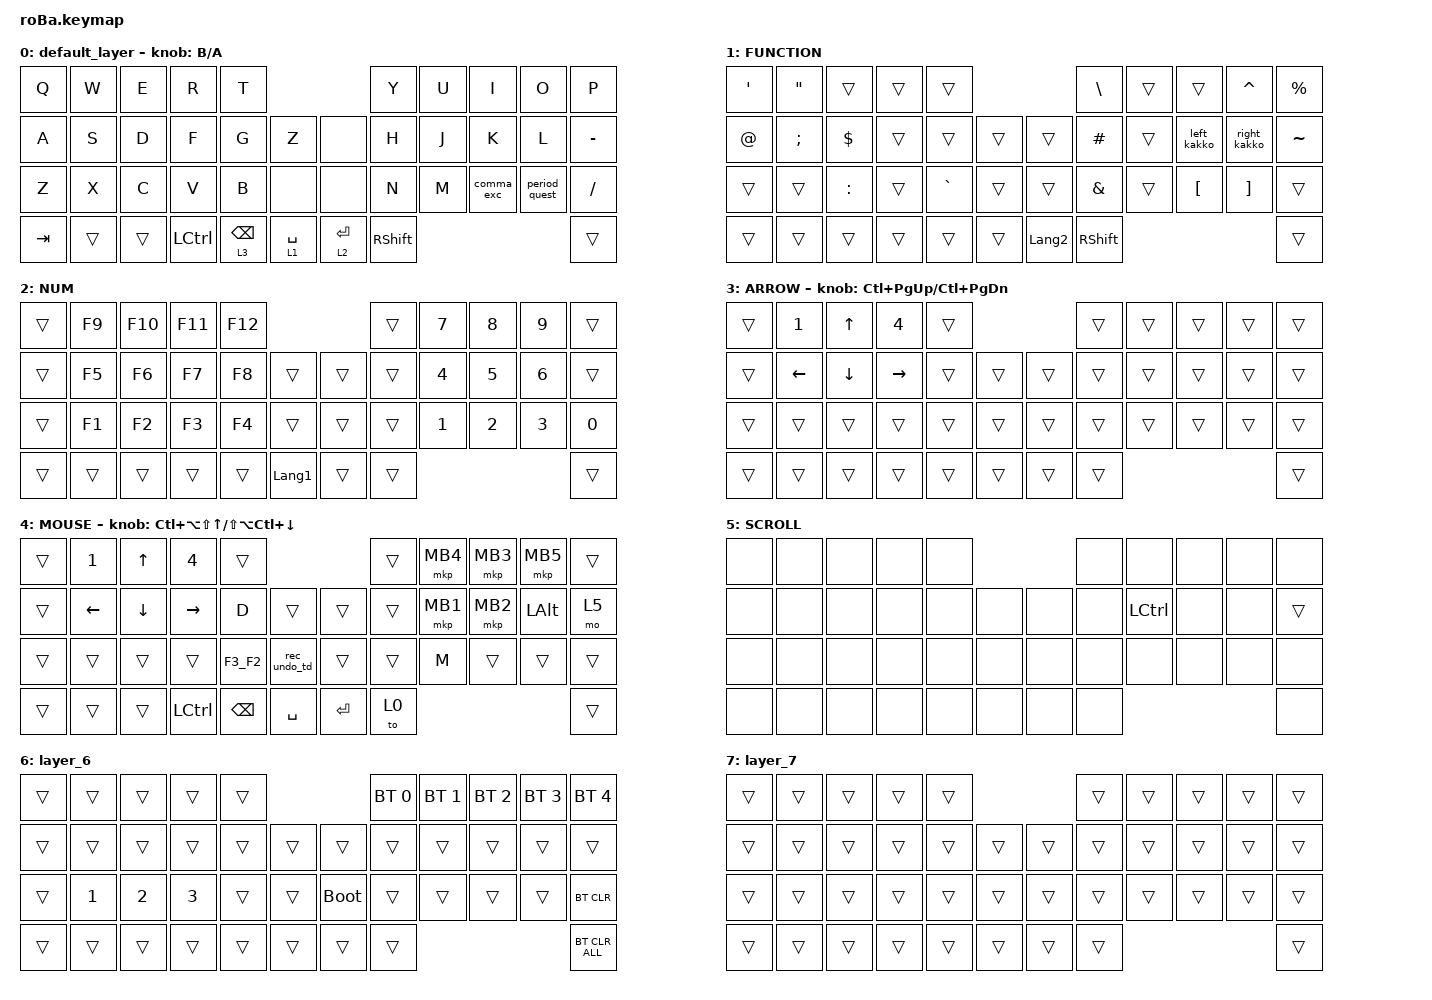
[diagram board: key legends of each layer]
#include <behaviors.dtsi>
#include <dt-bindings/zmk/bt.h>
#include <dt-bindings/zmk/keys.h>
#include <dt-bindings/zmk/pointing.h>

&mt {
    flavor = "balanced";
    quick-tap-ms = <0>;
};

&trackball {
    automouse-layer = <4>;
    scroll-layers = <5>;

    // arrows {
    //     layers = <3>;
    //     bindings =
    //         <&kp RIGHT_ARROW>,
    //         <&kp LEFT_ARROW>,
    //         <&kp UP_ARROW>,
    //         <&kp DOWN_ARROW>;
    //     tick = <10>;
    //     wait-ms = <5>;
    //     tap-ms = <5>;
    // };
};

/ {
    combos {
        compatible = "zmk,combos";

        tab {
            bindings = <&kp TAB>;
            key-positions = <11 12>;
        };

        shift_tab {
            bindings = <&kp LS(TAB)>;
            key-positions = <12 13>;
        };

        muhennkann {
            bindings = <&to_layer_0 INT_MUHENKAN>;
            key-positions = <11 10>;
        };

        double_quotation {
            bindings = <&kp DOUBLE_QUOTES>;
            key-positions = <20 21>;
        };

        eq {
            bindings = <&kp EQUAL>;
            key-positions = <24 25>;
        };
    };

    macros {
        to_layer_0: to_layer_0 {
            compatible = "zmk,behavior-macro-one-param";
            #binding-cells = <1>;
            bindings = <&to 0 &macro_param_1to1 &kp MACRO_PLACEHOLDER>;
            label = "TO_LAYER_0";
        };

        rec_undo_macro: rec_undo_macro {
            compatible = "zmk,behavior-macro";
            #binding-cells = <0>;
            bindings = <&kp LC(Z) &kp F13>;
            label = "REC_UNDO_MACRO";
        };
    };

    behaviors {
        lt_to_layer_0: lt_to_layer_0 {
            compatible = "zmk,behavior-hold-tap";
            label = "LAYER_TAP_TO_0";
            bindings = <&mo>, <&to_layer_0>;

            #binding-cells = <2>;
            tapping-term-ms = <200>;
        };

        comma_exc: comma_exc {
            compatible = "zmk,behavior-mod-morph";
            label = "COMMA_EXC";
            bindings = <&kp COMMA>, <&kp EXCLAMATION>;

            #binding-cells = <0>;
            mods = <(MOD_LSFT|MOD_RSFT)>;
        };

        period_quest: period_quest {
            compatible = "zmk,behavior-mod-morph";
            label = "PERIOD_QUEST";
            bindings = <&kp PERIOD>, <&kp QUESTION>;

            #binding-cells = <0>;
            mods = <(MOD_LSFT|MOD_RSFT)>;
        };

        left_kakko: left_kakko {
            compatible = "zmk,behavior-mod-morph";
            label = "LEFT_KAKKO";
            bindings = <&kp LEFT_PARENTHESIS>, <&kp LESS_THAN>;

            #binding-cells = <0>;
            mods = <(MOD_LSFT|MOD_RSFT)>;
        };

        right_kakko: right_kakko {
            compatible = "zmk,behavior-mod-morph";
            label = "RIGHT_KAKKO";
            bindings = <&kp RIGHT_PARENTHESIS>, <&kp GREATER_THAN>;

            #binding-cells = <0>;
            mods = <(MOD_LSFT|MOD_RSFT)>;
        };

        F3_F2: F3_F2 {
            compatible = "zmk,behavior-tap-dance";
            label = "F3_F2";
            #binding-cells = <0>;
            bindings = <&kp F3>, <&kp F2>;
        };

        rec_undo_td: rec_undo_td {
            compatible = "zmk,behavior-tap-dance";
            label = "REC_UNDO_TD";
            #binding-cells = <0>;
            bindings = <&kp ASTERISK>, <&rec_undo_macro>;
        };
    };

    keymap {
        compatible = "zmk,keymap";

        default_layer {
            bindings = <
&kp Q    &kp W   &kp E   &kp R      &kp T                                          &kp Y            &kp U  &kp I       &kp O          &kp P
&kp A    &kp S   &kp D   &kp F      &kp G            &kp Z            &none        &kp H            &kp J  &kp K       &kp L          &kp MINUS
&kp Z    &kp X   &kp C   &kp V      &kp B            &none            &none        &kp N            &kp M  &comma_exc  &period_quest  &kp SLASH
&kp TAB  &trans  &trans  &kp LCTRL  &lt 3 BACKSPACE  &lt 1 SPACE      &lt 2 ENTER  &kp RIGHT_SHIFT                                    &trans
            >;

            sensor-bindings = <&inc_dec_kp B A>;
        };

        FUNCTION {
            bindings = <
&kp SINGLE_QUOTE  &kp DOUBLE_QUOTES  &trans      &trans  &trans                                 &kp BACKSLASH    &trans  &trans            &kp CARET          &kp PERCENT
&kp AT_SIGN       &kp SEMICOLON      &kp DOLLAR  &trans  &trans     &trans      &trans          &kp HASH         &trans  &left_kakko       &right_kakko       &kp TILDE
&trans            &trans             &kp COLON   &trans  &kp GRAVE  &trans      &trans          &kp AMPERSAND    &trans  &kp LEFT_BRACKET  &kp RIGHT_BRACKET  &trans
&trans            &trans             &trans      &trans  &trans     &trans      &kp LANGUAGE_2  &kp RIGHT_SHIFT                                               &trans
            >;
        };

        NUM {
            bindings = <
&trans  &kp F9  &kp F10  &kp F11  &kp F12                              &trans  &kp NUMBER_7  &kp NUMBER_8  &kp NUMBER_9  &trans
&trans  &kp F5  &kp F6   &kp F7   &kp F8   &trans              &trans  &trans  &kp NUMBER_4  &kp NUMBER_5  &kp NUMBER_6  &trans
&trans  &kp F1  &kp F2   &kp F3   &kp F4   &trans              &trans  &trans  &kp NUMBER_1  &kp NUMBER_2  &kp NUMBER_3  &kp NUMBER_0
&trans  &trans  &trans   &trans   &trans   &kp LANGUAGE_1      &trans  &trans                                            &trans
            >;
        };

        ARROW {
            bindings = <
&trans  &kp NUMBER_1    &kp UP_ARROW    &kp NUMBER_4     &trans                      &trans  &trans  &trans  &trans  &trans
&trans  &kp LEFT_ARROW  &kp DOWN_ARROW  &kp RIGHT_ARROW  &trans  &trans      &trans  &trans  &trans  &trans  &trans  &trans
&trans  &trans          &trans          &trans           &trans  &trans      &trans  &trans  &trans  &trans  &trans  &trans
&trans  &trans          &trans          &trans           &trans  &trans      &trans  &trans                          &trans
            >;

            sensor-bindings = <&inc_dec_kp LC(PAGE_UP) LC(PAGE_DOWN)>;
        };

        MOUSE {
            bindings = <
&trans  &kp NUMBER_1    &kp UP_ARROW    &kp NUMBER_4     &trans                                      &trans  &mkp MB4  &mkp MB3  &mkp MB5      &trans
&trans  &kp LEFT_ARROW  &kp DOWN_ARROW  &kp RIGHT_ARROW  &kp D          &trans            &trans     &trans  &mkp MB1  &mkp MB2  &kp LEFT_ALT  &mo 5
&trans  &trans          &trans          &trans           &F3_F2         &rec_undo_td      &trans     &trans  &kp M     &trans    &trans        &trans
&trans  &trans          &trans          &kp LCTRL        &kp BACKSPACE  &kp SPACE         &kp ENTER  &to 0                                     &trans
            >;

            sensor-bindings = <&inc_dec_kp LC(LA(LS(UP_ARROW))) LS(LA(LC(DOWN_ARROW)))>;
        };

        SCROLL {
            bindings = <
&none  &none  &none  &none  &none                    &none  &none      &none  &none  &none
&none  &none  &none  &none  &none  &none      &none  &none  &kp LCTRL  &none  &none  &trans
&none  &none  &none  &none  &none  &none      &none  &none  &none      &none  &none  &none
&none  &none  &none  &none  &none  &none      &none  &none                           &none
            >;
        };

        layer_6 {
            bindings = <
&trans  &trans        &trans        &trans        &trans                           &bt BT_SEL 0  &bt BT_SEL 1  &bt BT_SEL 2  &bt BT_SEL 3  &bt BT_SEL 4
&trans  &trans        &trans        &trans        &trans  &trans      &trans       &trans        &trans        &trans        &trans        &trans
&trans  &kp NUMBER_1  &kp NUMBER_2  &kp NUMBER_3  &trans  &trans      &bootloader  &trans        &trans        &trans        &trans        &bt BT_CLR
&trans  &trans        &trans        &trans        &trans  &trans      &trans       &trans                                                  &bt BT_CLR_ALL
            >;
        };

        layer_7 {
            bindings = <
&trans  &trans  &trans  &trans  &trans                      &trans  &trans  &trans  &trans  &trans
&trans  &trans  &trans  &trans  &trans  &trans      &trans  &trans  &trans  &trans  &trans  &trans
&trans  &trans  &trans  &trans  &trans  &trans      &trans  &trans  &trans  &trans  &trans  &trans
&trans  &trans  &trans  &trans  &trans  &trans      &trans  &trans                          &trans
            >;
        };
    };
};
